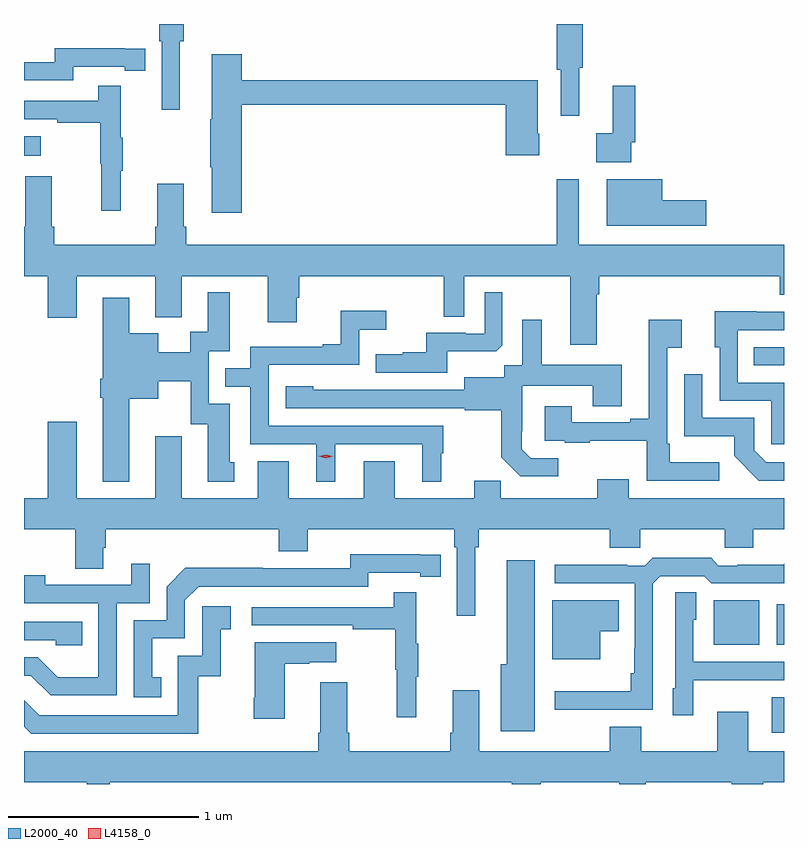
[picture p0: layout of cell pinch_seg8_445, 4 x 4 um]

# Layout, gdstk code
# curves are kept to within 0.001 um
import gdstk
lib = gdstk.Library(unit=1e-6, precision=1e-09)
def R(c, l, rs):  # rectangles x0, y0, x1, y1
    for r in rs: c.add(gdstk.rectangle(r[:2], r[2:], *l))
def P(c, l, *ps):  # polygons
    for p in ps: c.add(gdstk.Polygon(p, *l))
L2000_40 = (2000, 40)
L4158_0 = (4158, 0)

pinch_seg8_445 = lib.new_cell('pinch_seg8_445')
R(pinch_seg8_445, L2000_40, [(315.695,1136.742,315.759,1136.928), (315.389,1137.203,315.628,1137.439), (315.722,1137.203,315.759,1137.418), (315.601,1138.674,315.759,1138.77), (311.759,1139.777,311.848,1139.881)])
P(pinch_seg8_445, L2000_40, [(314.681,1140.24),(314.699,1140.24),(314.699,1140.471),(314.563,1140.471),(314.563,1140.229),(314.583,1140.229),(314.583,1139.988),(314.681,1139.988)],
  [(312.58,1140.38),(312.599,1140.38),(312.599,1140.471),(312.47,1140.471),(312.47,1140.38),(312.483,1140.38),(312.483,1140.021),(312.58,1140.021)],
  [(312.018,1140.246),(312.29,1140.246),(312.29,1140.226),(312.398,1140.226),(312.398,1140.342),(312.29,1140.342),(312.29,1140.343),(311.922,1140.343),(311.922,1140.27),(311.759,1140.27),(311.759,1140.174),(312.018,1140.174)],
  [(312.905,1140.046),(314.294,1140.046),(314.294,1139.781),(314.472,1139.781),(314.472,1139.893),(314.464,1139.893),(314.464,1140.175),(312.905,1140.175),(312.905,1140.313),(312.746,1140.313),(312.746,1139.969),(312.739,1139.969),(312.739,1139.716),(312.746,1139.716),(312.746,1139.478),(312.905,1139.478)],
  [(312.269,1139.699),(312.28,1139.699),(312.28,1139.873),(312.269,1139.873),(312.269,1140.145),(312.151,1140.145),(312.151,1140.066),(311.759,1140.066),(311.759,1139.97),(311.935,1139.97),(311.935,1139.95),(312.159,1139.95),(312.159,1139.736),(312.166,1139.736),(312.166,1139.487),(312.269,1139.487)],
  [(314.955,1139.848),(314.975,1139.848),(314.975,1140.145),(314.858,1140.145),(314.858,1139.897),(314.772,1139.897),(314.772,1139.744),(314.955,1139.744)],
  [(314.773,1139.048),(314.786,1139.048),(314.786,1139.144),(315.737,1139.144),(315.737,1139.045),(315.759,1139.045),(315.759,1139.308),(314.68,1139.308),(314.68,1139.653),(314.563,1139.653),(314.563,1139.308),(312.614,1139.308),(312.614,1139.404),(312.601,1139.404),(312.601,1139.629),(312.461,1139.629),(312.461,1139.404),(312.449,1139.404),(312.449,1139.308),(311.918,1139.308),(311.918,1139.404),(311.905,1139.404),(311.905,1139.671),(311.765,1139.671),(311.765,1139.404),(311.759,1139.404),(311.759,1139.144),(311.885,1139.144),(311.885,1138.926),(312.037,1138.926),(312.037,1139.144),(312.449,1139.144),(312.449,1138.928),(312.589,1138.928),(312.589,1139.144),(313.043,1139.144),(313.043,1138.902),(313.195,1138.902),(313.195,1139.031),(313.208,1139.031),(313.208,1139.144),(313.968,1139.144),(313.968,1138.93),(314.076,1138.93),(314.076,1139.144),(314.633,1139.144),(314.633,1138.782),(314.773,1138.782)],
  [(315.349,1139.543),(315.118,1139.543),(315.118,1139.653),(314.825,1139.653),(314.825,1139.408),(315.349,1139.408)],
  [(313.987,1138.748),(314.245,1138.748),(314.277,1138.779),(314.277,1139.059),(314.184,1139.059),(314.184,1138.842),(314.084,1138.842),(314.084,1138.845),(313.877,1138.845),(313.877,1138.744),(313.753,1138.744),(313.753,1138.732),(313.609,1138.732),(313.609,1138.635),(313.987,1138.635)],
  [(312.313,1138.499),(312.466,1138.499),(312.466,1138.592),(312.636,1138.592),(312.636,1138.365),(312.725,1138.365),(312.725,1138.062),(312.865,1138.062),(312.865,1138.164),(312.841,1138.164),(312.841,1138.473),(312.732,1138.473),(312.732,1138.749),(312.841,1138.749),(312.841,1139.059),(312.725,1139.059),(312.725,1138.85),(312.635,1138.85),(312.635,1138.744),(312.466,1138.744),(312.466,1138.843),(312.313,1138.843),(312.313,1139.029),(312.173,1139.029),(312.173,1138.603),(312.161,1138.603),(312.161,1138.503),(312.173,1138.503),(312.173,1138.061),(312.313,1138.061)],
  [(313.396,1138.26),(313.856,1138.26),(313.856,1138.061),(313.954,1138.061),(313.954,1138.212),(313.966,1138.212),(313.966,1138.356),(313.047,1138.356),(313.047,1138.677),(313.524,1138.677),(313.524,1138.862),(313.666,1138.862),(313.666,1138.961),(313.426,1138.961),(313.426,1138.786),(313.331,1138.786),(313.331,1138.773),(312.951,1138.773),(312.951,1138.659),(312.817,1138.659),(312.817,1138.563),(312.951,1138.563),(312.951,1138.26),(313.298,1138.26),(313.298,1138.061),(313.396,1138.061)],
  [(315.759,1138.584),(315.516,1138.584),(315.516,1138.86),(315.759,1138.86),(315.759,1138.956),(315.613,1138.956),(315.613,1138.958),(315.395,1138.958),(315.395,1138.77),(315.42,1138.77),(315.42,1138.488),(315.693,1138.488),(315.693,1138.26),(315.759,1138.26)],
  [(315.418,1138.165),(315.157,1138.165),(315.157,1138.261),(315.144,1138.261),(315.144,1138.766),(315.22,1138.766),(315.22,1138.915),(315.047,1138.915),(315.047,1138.393),(314.951,1138.393),(314.951,1138.374),(314.641,1138.374),(314.641,1138.459),(314.501,1138.459),(314.501,1138.278),(314.605,1138.278),(314.605,1138.266),(314.737,1138.266),(314.737,1138.277),(315.036,1138.277),(315.036,1138.068),(315.418,1138.068)],
  [(314.572,1138.185),(314.427,1138.185),(314.38,1138.232),(314.38,1138.327),(314.382,1138.327),(314.382,1138.568),(314.753,1138.568),(314.753,1138.459),(314.905,1138.459),(314.905,1138.678),(314.485,1138.678),(314.485,1138.915),(314.381,1138.915),(314.381,1138.676),(314.286,1138.676),(314.286,1138.612),(314.075,1138.612),(314.075,1138.545),(313.281,1138.546),(313.281,1138.564),(313.137,1138.564),(313.137,1138.449),(314.079,1138.449),(314.079,1138.437),(314.271,1138.437),(314.271,1138.191),(314.371,1138.091),(314.572,1138.091)],
  [(315.759,1138.164),(315.666,1138.164),(315.603,1138.227),(315.603,1138.398),(315.33,1138.398),(315.33,1138.627),(315.234,1138.627),(315.234,1138.301),(315.496,1138.301),(315.496,1138.199),(315.626,1138.068),(315.759,1138.068)],
  [(314.134,1137.716),(314.153,1137.716),(314.153,1137.812),(314.843,1137.812),(314.843,1137.714),(315.003,1137.714),(315.003,1137.812),(315.448,1137.812),(315.448,1137.714),(315.598,1137.714),(315.598,1137.812),(315.759,1137.812),(315.759,1137.976),(314.941,1137.976),(314.941,1138.075),(314.777,1138.075),(314.777,1137.976),(314.267,1137.976),(314.267,1138.067),(314.129,1138.067),(314.129,1137.976),(313.711,1137.976),(313.711,1138.171),(313.547,1138.171),(313.547,1137.976),(313.153,1137.976),(313.153,1138.171),(312.989,1138.171),(312.989,1137.976),(312.589,1137.976),(312.589,1138.3),(312.449,1138.3),(312.449,1137.976),(312.037,1137.976),(312.037,1138.378),(311.885,1138.378),(311.885,1137.976),(311.759,1137.976),(311.759,1137.812),(312.028,1137.812),(312.028,1137.604),(312.175,1137.604),(312.175,1137.714),(312.188,1137.714),(312.188,1137.812),(313.1,1137.812),(313.1,1137.695),(313.252,1137.695),(313.252,1137.812),(314.024,1137.812),(314.024,1137.716),(314.037,1137.716),(314.037,1137.357),(314.134,1137.357)],
  [(312.482,1137.033),(312.433,1137.033),(312.433,1137.237),(312.606,1137.237),(312.606,1137.438),(312.678,1137.51),(313.572,1137.51),(313.572,1137.582),(313.844,1137.582),(313.844,1137.562),(313.952,1137.562),(313.952,1137.678),(313.476,1137.679),(313.476,1137.606),(313.016,1137.606),(313.016,1137.608),(312.608,1137.608),(312.51,1137.51),(312.51,1137.333),(312.336,1137.333),(312.336,1136.928),(312.482,1136.928)],
  [(315.069,1137.525),(315.108,1137.564),(315.339,1137.564),(315.375,1137.528),(315.759,1137.528),(315.759,1137.63),(315.755,1137.626),(315.514,1137.626),(315.514,1137.621),(315.414,1137.621),(315.375,1137.661),(315.067,1137.661),(315.027,1137.621),(314.933,1137.621),(314.933,1137.626),(314.553,1137.626),(314.553,1137.528),(314.973,1137.528),(314.972,1137.055),(314.953,1137.055),(314.953,1136.959),(314.553,1136.959),(314.553,1136.862),(315.069,1136.862)],
  [(314.446,1137.649),(314.3,1137.649),(314.3,1137.1),(314.267,1137.1),(314.267,1136.748),(314.446,1136.748)],
  [(312.246,1137.423),(312.42,1137.423),(312.42,1137.631),(312.323,1137.631),(312.323,1137.519),(311.872,1137.519),(311.872,1137.571),(311.761,1137.571),(311.761,1137.423),(312.15,1137.423),(312.15,1137.034),(311.936,1137.034),(311.832,1137.138),(311.759,1137.138),(311.759,1137.042),(311.795,1137.042),(311.9,1136.937),(312.246,1136.937)],
  [(313.823,1137.035),(313.834,1137.035),(313.834,1137.209),(313.823,1137.209),(313.823,1137.481),(313.705,1137.481),(313.705,1137.402),(312.957,1137.402),(312.957,1137.306),(313.489,1137.306),(313.489,1137.286),(313.713,1137.286),(313.713,1137.072),(313.72,1137.072),(313.72,1136.823),(313.823,1136.823)],
  [(315.282,1137.017),(315.599,1137.017),(315.599,1137.018),(315.759,1137.018),(315.759,1137.114),(315.282,1137.114),(315.282,1137.336),(315.298,1137.336),(315.298,1137.479),(315.186,1137.479),(315.186,1136.976),(315.173,1136.976),(315.173,1136.832),(315.282,1136.832)],
  [(314.791,1137.274),(314.888,1137.274),(314.888,1137.439),(314.54,1137.439),(314.54,1137.128),(314.791,1137.128)],
  [(312.676,1137.039),(312.794,1137.039),(312.794,1137.285),(312.847,1137.285),(312.847,1137.406),(312.696,1137.406),(312.696,1137.147),(312.567,1137.147),(312.567,1136.832),(311.838,1136.832),(311.759,1136.911),(311.759,1136.773),(311.796,1136.736),(312.676,1136.736)],
  [(312.065,1137.324),(311.759,1137.324),(311.759,1137.228),(311.925,1137.228),(311.925,1137.201),(312.065,1137.201)],
  [(313.132,1137.103),(313.259,1137.103),(313.259,1137.113),(313.402,1137.113),(313.402,1137.217),(312.974,1137.217),(312.974,1136.926),(312.967,1136.926),(312.967,1136.814),(313.132,1136.814)],
  [(312.211,1136.48),(314.327,1136.48),(314.327,1136.471),(314.479,1136.471),(314.479,1136.48),(314.891,1136.48),(314.891,1136.471),(315.031,1136.471),(315.031,1136.48),(315.485,1136.48),(315.485,1136.471),(315.65,1136.471),(315.65,1136.48),(315.759,1136.48),(315.759,1136.644),(315.571,1136.644),(315.571,1136.851),(315.407,1136.851),(315.407,1136.644),(315.007,1136.644),(315.007,1136.773),(314.843,1136.773),(314.843,1136.644),(314.155,1136.644),(314.155,1136.965),(314.015,1136.965),(314.015,1136.74),(314.003,1136.74),(314.003,1136.644),(313.472,1136.644),(313.472,1136.74),(313.459,1136.74),(313.459,1137.007),(313.319,1137.007),(313.319,1136.74),(313.307,1136.74),(313.307,1136.644),(311.759,1136.644),(311.759,1136.48),(312.089,1136.48),(312.089,1136.471),(312.211,1136.471)])
P(pinch_seg8_445, L4158_0, [(313.347,1138.185),(313.311,1138.195),(313.311,1138.195),(313.311,1138.195),(313.347,1138.205),(313.383,1138.195),(313.383,1138.195),(313.383,1138.195)])

lib.write_gds('pinch_seg8_445.gds')
